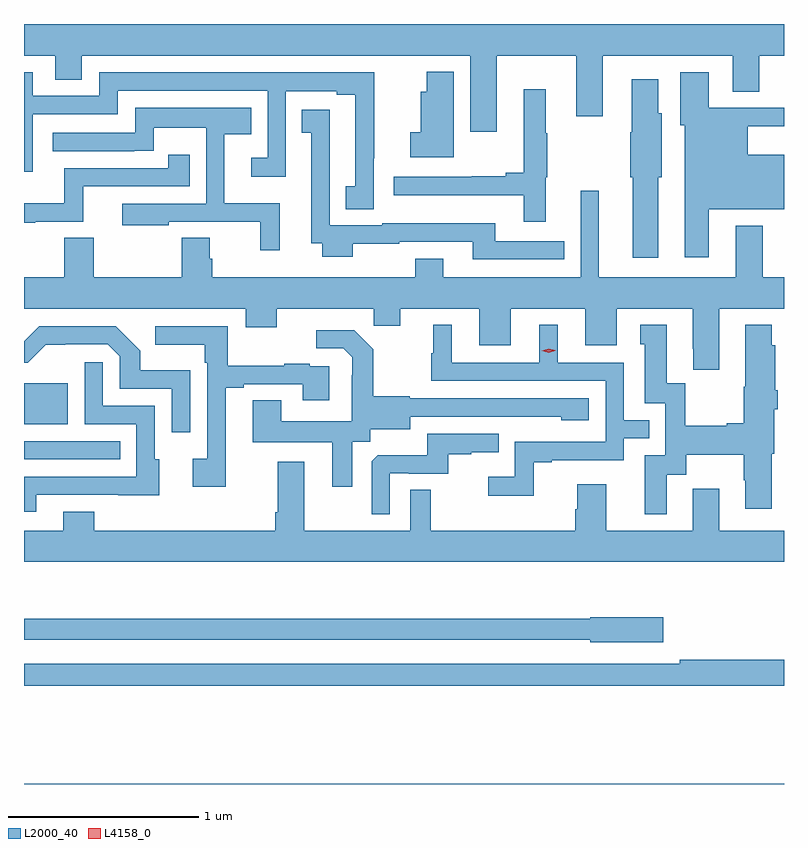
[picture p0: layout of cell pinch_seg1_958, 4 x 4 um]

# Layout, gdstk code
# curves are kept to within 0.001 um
import gdstk
lib = gdstk.Library(unit=1e-6, precision=1e-09)
def R(c, l, rs):  # rectangles x0, y0, x1, y1
    for r in rs: c.add(gdstk.rectangle(r[:2], r[2:], *l))
def P(c, l, *ps):  # polygons
    for p in ps: c.add(gdstk.Polygon(p, *l))
L2000_40 = (2000, 40)
L4158_0 = (4158, 0)

pinch_seg1_958 = lib.new_cell('pinch_seg1_958')
R(pinch_seg1_958, L2000_40, [(335.972,530.582,339.972,530.584), (335.972,532.29,336.479,532.386), (335.972,532.475,336.202,532.69)])
P(pinch_seg1_958, L2000_40, [(338.461,534.416),(338.879,534.416),(338.879,534.096),(339.019,534.096),(339.019,534.416),(339.701,534.416),(339.701,534.226),(339.841,534.226),(339.841,534.416),(339.972,534.416),(339.972,534.58),(337.295,534.58),(337.295,534.582),(337.178,534.582),(337.178,534.58),(335.972,534.58),(335.972,534.416),(336.137,534.416),(336.137,534.289),(336.277,534.289),(336.277,534.416),(338.321,534.416),(338.321,534.015),(338.461,534.015)],
  [(338.233,534.331),(338.093,534.331),(338.093,534.226),(338.06,534.226),(338.06,534.012),(338.004,534.012),(338.004,533.882),(338.233,533.882)],
  [(339.577,533.606),(339.972,533.606),(339.972,533.893),(339.781,533.893),(339.781,534.044),(339.972,534.044),(339.972,534.141),(339.577,534.141),(339.577,534.328),(339.425,534.328),(339.425,534.048),(339.449,534.048),(339.449,533.355),(339.577,533.355)],
  [(337.812,533.875),(337.815,533.875),(337.815,534.328),(337.357,534.328),(337.357,534.327),(336.369,534.327),(336.369,534.204),(336.018,534.204),(336.018,534.327),(335.972,534.327),(335.972,533.805),(336.018,533.805),(336.018,534.108),(336.465,534.108),(336.465,534.231),(337.254,534.231),(337.254,533.878),(337.167,533.878),(337.167,533.777),(337.35,533.777),(337.35,534.227),(337.619,534.227),(337.619,534.21),(337.715,534.21),(337.715,533.727),(337.666,533.727),(337.666,533.608),(337.812,533.608)],
  [(339.31,533.775),(339.328,533.775),(339.328,534.111),(339.31,534.111),(339.31,534.292),(339.17,534.292),(339.17,534.011),(339.163,534.011),(339.163,533.775),(339.176,533.775),(339.176,533.352),(339.31,533.352)],
  [(338.719,533.775),(338.727,533.775),(338.727,534.008),(338.719,534.008),(338.719,534.238),(338.603,534.238),(338.603,533.798),(338.507,533.798),(338.507,533.781),(338.329,533.781),(338.329,533.778),(337.917,533.778),(337.917,533.681),(338.603,533.681),(338.603,533.541),(338.719,533.541)],
  [(337.318,533.638),(337.027,533.638),(337.027,534.002),(337.169,534.002),(337.169,534.142),(336.558,534.142),(336.558,534.009),(336.123,534.009),(336.123,533.913),(336.551,533.913),(336.551,533.914),(336.654,533.914),(336.654,534.035),(336.93,534.035),(336.93,533.637),(336.489,533.637),(336.489,533.522),(336.733,533.522),(336.733,533.541),(337.216,533.541),(337.216,533.391),(337.318,533.391)],
  [(338.816,533.439),(338.452,533.439),(338.452,533.533),(337.857,533.533),(337.857,533.523),(337.581,533.523),(337.581,533.806),(337.582,533.806),(337.582,534.13),(337.435,534.13),(337.435,534.009),(337.484,534.009),(337.484,533.427),(337.541,533.427),(337.541,533.357),(337.701,533.357),(337.701,533.426),(337.947,533.426),(337.947,533.436),(338.333,533.436),(338.333,533.343),(338.816,533.343)],
  [(336.03,533.541),(336.284,533.541),(336.284,533.727),(336.845,533.727),(336.845,533.893),(336.732,533.893),(336.732,533.823),(336.185,533.823),(336.185,533.638),(335.972,533.638),(335.972,533.536),(336.03,533.536)],
  [(339.631,533.084),(339.972,533.084),(339.972,533.248),(339.859,533.248),(339.859,533.521),(339.719,533.521),(339.719,533.248),(338.998,533.248),(338.998,533.704),(338.901,533.704),(338.901,533.248),(338.179,533.248),(338.179,533.347),(338.032,533.347),(338.032,533.248),(336.962,533.248),(336.962,533.346),(336.949,533.346),(336.949,533.456),(336.802,533.456),(336.802,533.248),(336.339,533.248),(336.339,533.456),(336.184,533.456),(336.184,533.248),(335.972,533.248),(335.972,533.084),(337.139,533.084),(337.139,532.985),(337.303,532.985),(337.303,533.084),(337.813,533.084),(337.813,532.994),(337.951,532.994),(337.951,533.084),(338.369,533.084),(338.369,532.89),(338.533,532.89),(338.533,533.084),(338.927,533.084),(338.927,532.89),(339.091,532.89),(339.091,533.084),(339.491,533.084),(339.491,532.873),(339.494,532.873),(339.494,532.761),(339.631,532.761)],
  [(339.355,532.21),(339.457,532.21),(339.457,532.316),(339.76,532.316),(339.76,532.182),(339.767,532.182),(339.767,532.032),(339.907,532.032),(339.907,532.32),(339.92,532.32),(339.92,532.554),(339.938,532.554),(339.938,532.654),(339.925,532.654),(339.925,532.89),(339.907,532.89),(339.907,532.999),(339.767,532.999),(339.767,532.673),(339.76,532.673),(339.76,532.481),(339.671,532.481),(339.671,532.468),(339.453,532.468),(339.453,532.691),(339.355,532.691),(339.355,532.999),(339.215,532.999),(339.215,532.896),(339.239,532.896),(339.239,532.587),(339.348,532.587),(339.348,532.311),(339.239,532.311),(339.239,532.002),(339.355,532.002)],
  [(338.655,532.275),(338.749,532.275),(338.749,532.287),(339.129,532.287),(339.129,532.401),(339.263,532.401),(339.263,532.497),(339.129,532.497),(339.129,532.8),(338.782,532.8),(338.782,532.999),(338.684,532.999),(338.684,532.8),(338.224,532.8),(338.224,532.999),(338.126,532.999),(338.126,532.848),(338.115,532.848),(338.115,532.704),(339.033,532.704),(339.033,532.383),(338.556,532.383),(338.556,532.198),(338.415,532.198),(338.415,532.1),(338.655,532.1)],
  [(336.846,532.759),(336.585,532.759),(336.585,532.862),(336.454,532.992),(336.051,532.992),(335.972,532.913),(335.972,532.8),(335.991,532.8),(336.086,532.895),(336.414,532.896),(336.477,532.833),(336.477,532.662),(336.75,532.662),(336.75,532.434),(336.846,532.434)],
  [(337.033,532.668),(337.129,532.668),(337.129,532.686),(337.439,532.686),(337.439,532.602),(337.579,532.602),(337.579,532.782),(337.475,532.782),(337.475,532.795),(337.343,532.795),(337.343,532.784),(337.045,532.784),(337.045,532.992),(336.663,532.992),(336.663,532.895),(336.924,532.895),(336.924,532.799),(336.936,532.799),(336.936,532.294),(336.861,532.294),(336.861,532.146),(337.033,532.146)],
  [(337.699,532.384),(337.794,532.384),(337.794,532.448),(338.005,532.448),(338.005,532.515),(338.799,532.514),(338.799,532.496),(338.944,532.496),(338.944,532.611),(338.001,532.611),(338.001,532.624),(337.809,532.624),(337.809,532.869),(337.709,532.969),(337.509,532.969),(337.509,532.875),(337.653,532.875),(337.7,532.828),(337.7,532.733),(337.698,532.733),(337.698,532.492),(337.327,532.492),(337.327,532.601),(337.175,532.601),(337.175,532.382),(337.595,532.382),(337.595,532.146),(337.699,532.146)],
  [(336.037,532.104),(336.467,532.104),(336.467,532.103),(336.685,532.103),(336.685,532.29),(336.66,532.29),(336.66,532.572),(336.387,532.572),(336.387,532.801),(336.291,532.801),(336.291,532.476),(336.564,532.476),(336.564,532.2),(335.972,532.2),(335.972,532.014),(336.037,532.014)],
  [(337.896,532.218),(337.996,532.218),(337.996,532.215),(338.204,532.215),(338.204,532.317),(338.327,532.317),(338.327,532.328),(338.471,532.328),(338.471,532.425),(338.094,532.425),(338.094,532.313),(337.835,532.313),(337.803,532.281),(337.803,532.001),(337.896,532.001)],
  [(339.972,531.916),(339.631,531.916),(339.631,532.135),(339.491,532.135),(339.491,531.916),(339.037,531.916),(339.037,532.159),(338.885,532.159),(338.885,532.029),(338.873,532.029),(338.873,531.916),(338.113,531.916),(338.113,532.13),(338.004,532.13),(338.004,531.916),(337.447,531.916),(337.447,532.279),(337.307,532.279),(337.307,532.012),(337.295,532.012),(337.295,531.916),(336.343,531.916),(336.343,532.015),(336.179,532.015),(336.179,531.916),(335.972,531.916),(335.972,531.752),(339.972,531.752)],
  [(339.337,531.459),(338.952,531.459),(338.952,531.451),(335.972,531.451),(335.972,531.342),(338.952,531.342),(338.952,531.329),(339.337,531.329)],
  [(339.972,531.236),(339.424,531.236),(339.424,531.216),(335.972,531.216),(335.972,531.1),(339.972,531.1)])
P(pinch_seg1_958, L4158_0, [(338.733,532.853),(338.697,532.862),(338.697,532.862),(338.697,532.862),(338.733,532.873),(338.769,532.864),(338.769,532.863),(338.769,532.863)])

lib.write_gds('pinch_seg1_958.gds')
